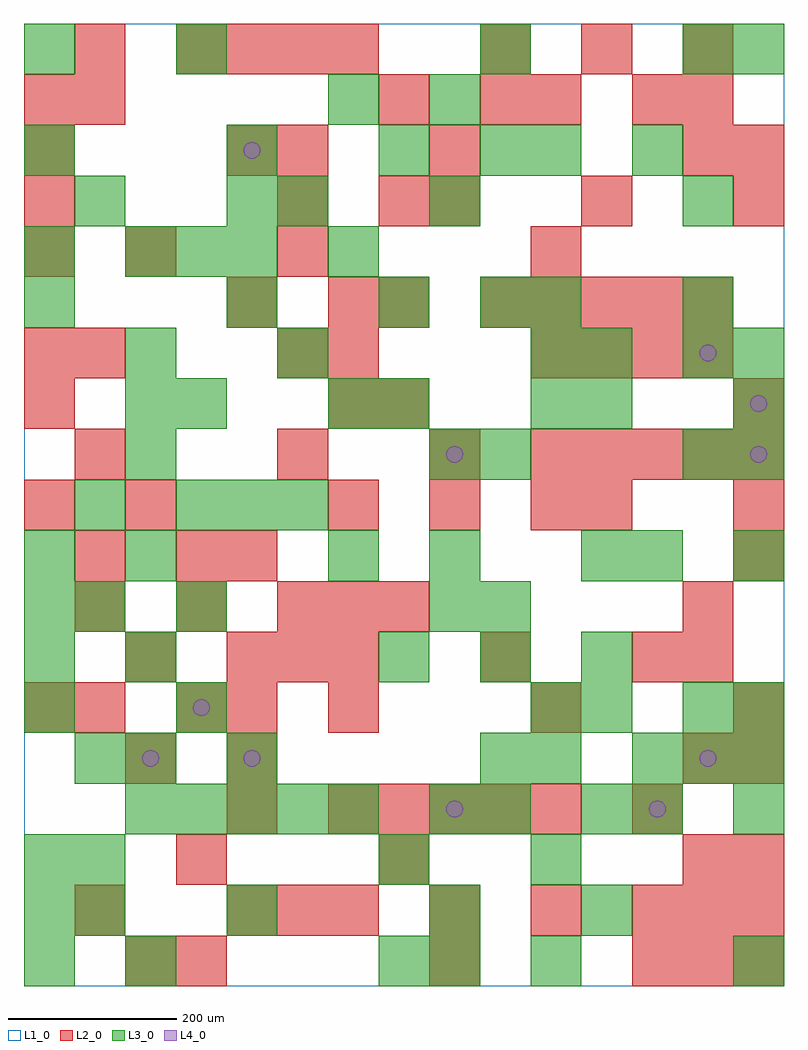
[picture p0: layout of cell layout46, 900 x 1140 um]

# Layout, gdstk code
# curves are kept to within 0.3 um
import gdstk
lib = gdstk.Library(unit=1e-6, precision=1e-09)
def R(c, l, rs):  # rectangles x0, y0, x1, y1
    for r in rs: c.add(gdstk.rectangle(r[:2], r[2:], *l))
def A(c, l, x, y, w, h, nx, ny, dx, dy):  # array of equal rectangles
    R(c, l, [(x+i*dx, y+j*dy, x+i*dx+w, y+j*dy+h) for i in range(nx) for j in range(ny)])
def P(c, l, *ps):  # polygons
    for p in ps: c.add(gdstk.Polygon(p, *l))
L1_0 = (1, 0)
L2_0 = (2, 0)
L3_0 = (3, 0)
L4_0 = (4, 0)

layout46 = lib.new_cell('layout46')
R(layout46, L1_0, [(0,0,900,1140)])
A(layout46, L2_0, 720, 0, 60, 60, 3, 1, 60, 0)
A(layout46, L2_0, 240, 60, 60, 60, 3, 2, 60, 300)
A(layout46, L2_0, 480, 60, 60, 60, 3, 1, 120, 0)
A(layout46, L2_0, 180, 120, 60, 60, 1, 3, 0, 180)
A(layout46, L2_0, 780, 120, 60, 60, 1, 3, 0, 120)
A(layout46, L2_0, 240, 180, 60, 60, 1, 3, 0, 60)
A(layout46, L2_0, 360, 180, 60, 60, 5, 1, 60, 0)
A(layout46, L2_0, 360, 300, 60, 60, 3, 1, 240, 0)
A(layout46, L2_0, 60, 420, 60, 60, 3, 1, 120, 0)
A(layout46, L2_0, 60, 480, 60, 60, 1, 3, 0, 120)
A(layout46, L2_0, 360, 540, 60, 60, 3, 1, 120, 0)
A(layout46, L2_0, 300, 600, 60, 60, 1, 3, 0, 120)
A(layout46, L2_0, 600, 600, 60, 60, 5, 1, 60, 0)
A(layout46, L2_0, 360, 660, 60, 60, 1, 3, 0, 60)
A(layout46, L2_0, 420, 660, 60, 60, 1, 4, 0, 120)
A(layout46, L2_0, 600, 720, 60, 60, 4, 1, 60, 0)
A(layout46, L2_0, 540, 780, 60, 60, 5, 1, 60, 0)
A(layout46, L2_0, 0, 840, 60, 60, 1, 4, 0, 60)
A(layout46, L2_0, 480, 900, 60, 60, 3, 1, 180, 0)
A(layout46, L2_0, 180, 1080, 60, 60, 4, 1, 60, 0)
A(layout46, L2_0, 540, 1080, 60, 60, 3, 1, 120, 0)
R(layout46, L2_0, [(120,0,180,60), (180,0,240,60), (480,0,540,60), (60,60,120,120), (780,60,840,120), (840,60,900,120), (420,120,480,180), (840,120,900,180), (720,180,780,240), (120,240,180,300), (840,240,900,300), (0,300,60,360), (60,300,120,360), (120,360,180,420), (540,360,600,420), (720,360,780,420), (360,420,420,480), (420,420,480,480), (780,420,840,480), (240,480,300,540), (840,480,900,540), (0,540,60,600), (120,540,180,600), (660,540,720,600), (840,540,900,600), (480,600,540,660), (0,660,60,720), (840,660,900,720), (0,720,60,780), (240,780,300,840), (120,840,180,900), (600,840,660,900), (300,900,360,960), (240,960,300,1020), (300,960,360,1020), (480,960,540,1020), (780,960,840,1020), (840,960,900,1020), (60,1020,120,1080), (540,1020,600,1080), (600,1020,660,1080), (720,1020,780,1080), (780,1020,840,1080), (60,1080,120,1140)])
A(layout46, L3_0, 0, 0, 60, 60, 1, 3, 0, 60)
A(layout46, L3_0, 600, 0, 60, 60, 1, 3, 0, 120)
A(layout46, L3_0, 660, 60, 60, 60, 1, 3, 0, 120)
A(layout46, L3_0, 120, 180, 60, 60, 5, 1, 60, 0)
A(layout46, L3_0, 120, 240, 60, 60, 1, 4, 0, 120)
A(layout46, L3_0, 540, 240, 60, 60, 1, 5, 0, 180)
A(layout46, L3_0, 720, 240, 60, 60, 3, 1, 60, 0)
A(layout46, L3_0, 0, 300, 60, 60, 1, 4, 0, 60)
A(layout46, L3_0, 420, 360, 60, 60, 3, 1, 120, 0)
A(layout46, L3_0, 360, 480, 60, 60, 1, 4, 0, 180)
A(layout46, L3_0, 180, 540, 60, 60, 3, 1, 60, 0)
A(layout46, L3_0, 840, 600, 60, 60, 1, 3, 0, 60)
A(layout46, L3_0, 600, 660, 60, 60, 1, 3, 0, 60)
A(layout46, L3_0, 0, 840, 60, 60, 1, 3, 0, 120)
A(layout46, L3_0, 120, 840, 60, 60, 3, 1, 60, 0)
R(layout46, L3_0, [(120,0,180,60), (420,0,480,60), (480,0,540,60), (840,0,900,60), (60,60,120,120), (240,60,300,120), (480,60,540,120), (60,120,120,180), (420,120,480,180), (480,180,540,240), (540,180,600,240), (720,180,780,240), (840,180,900,240), (60,240,120,300), (240,240,300,300), (180,300,240,360), (600,300,660,360), (780,300,840,360), (840,300,900,360), (60,420,120,480), (180,420,240,480), (480,420,540,480), (480,480,540,540), (660,480,720,540), (720,480,780,540), (840,480,900,540), (60,540,120,600), (480,600,540,660), (780,600,840,660), (120,660,180,720), (180,660,240,720), (420,660,480,720), (660,660,720,720), (120,720,180,780), (300,720,360,780), (660,720,720,780), (780,720,840,780), (0,780,60,840), (240,780,300,840), (420,780,480,840), (780,780,840,840), (60,900,120,960), (240,900,300,960), (300,900,360,960), (480,900,540,960), (780,900,840,960), (240,960,300,1020), (420,960,480,1020), (600,960,660,1020), (720,960,780,1020), (480,1020,540,1080), (180,1080,240,1140), (540,1080,600,1140), (780,1080,840,1140), (840,1080,900,1140)])
P(layout46, L4_0, [(160,270),(159.239,273.827),(157.071,277.071),(153.827,279.239),(150,280),(146.173,279.239),(142.929,277.071),(140.761,273.827),(140,270),(140.761,266.173),(142.929,262.929),(146.173,260.761),(150,260),(153.827,260.761),(157.071,262.929),(159.239,266.173)],
  [(220,330),(219.239,333.827),(217.071,337.071),(213.827,339.239),(210,340),(206.173,339.239),(202.929,337.071),(200.761,333.827),(200,330),(200.761,326.173),(202.929,322.929),(206.173,320.761),(210,320),(213.827,320.761),(217.071,322.929),(219.239,326.173)],
  [(280,270),(279.239,273.827),(277.071,277.071),(273.827,279.239),(270,280),(266.173,279.239),(262.929,277.071),(260.761,273.827),(260,270),(260.761,266.173),(262.929,262.929),(266.173,260.761),(270,260),(273.827,260.761),(277.071,262.929),(279.239,266.173)],
  [(280,990),(279.239,993.827),(277.071,997.071),(273.827,999.239),(270,1000),(266.173,999.239),(262.929,997.071),(260.761,993.827),(260,990),(260.761,986.173),(262.929,982.929),(266.173,980.761),(270,980),(273.827,980.761),(277.071,982.929),(279.239,986.173)],
  [(520,210),(519.239,213.827),(517.071,217.071),(513.827,219.239),(510,220),(506.173,219.239),(502.929,217.071),(500.761,213.827),(500,210),(500.761,206.173),(502.929,202.929),(506.173,200.761),(510,200),(513.827,200.761),(517.071,202.929),(519.239,206.173)],
  [(520,630),(519.239,633.827),(517.071,637.071),(513.827,639.239),(510,640),(506.173,639.239),(502.929,637.071),(500.761,633.827),(500,630),(500.761,626.173),(502.929,622.929),(506.173,620.761),(510,620),(513.827,620.761),(517.071,622.929),(519.239,626.173)],
  [(760,210),(759.239,213.827),(757.071,217.071),(753.827,219.239),(750,220),(746.173,219.239),(742.929,217.071),(740.761,213.827),(740,210),(740.761,206.173),(742.929,202.929),(746.173,200.761),(750,200),(753.827,200.761),(757.071,202.929),(759.239,206.173)],
  [(820,270),(819.239,273.827),(817.071,277.071),(813.827,279.239),(810,280),(806.173,279.239),(802.929,277.071),(800.761,273.827),(800,270),(800.761,266.173),(802.929,262.929),(806.173,260.761),(810,260),(813.827,260.761),(817.071,262.929),(819.239,266.173)],
  [(820,750),(819.239,753.827),(817.071,757.071),(813.827,759.239),(810,760),(806.173,759.239),(802.929,757.071),(800.761,753.827),(800,750),(800.761,746.173),(802.929,742.929),(806.173,740.761),(810,740),(813.827,740.761),(817.071,742.929),(819.239,746.173)],
  [(880,630),(879.239,633.827),(877.071,637.071),(873.827,639.239),(870,640),(866.173,639.239),(862.929,637.071),(860.761,633.827),(860,630),(860.761,626.173),(862.929,622.929),(866.173,620.761),(870,620),(873.827,620.761),(877.071,622.929),(879.239,626.173)],
  [(880,690),(879.239,693.827),(877.071,697.071),(873.827,699.239),(870,700),(866.173,699.239),(862.929,697.071),(860.761,693.827),(860,690),(860.761,686.173),(862.929,682.929),(866.173,680.761),(870,680),(873.827,680.761),(877.071,682.929),(879.239,686.173)])

lib.write_gds('layout46.gds')
